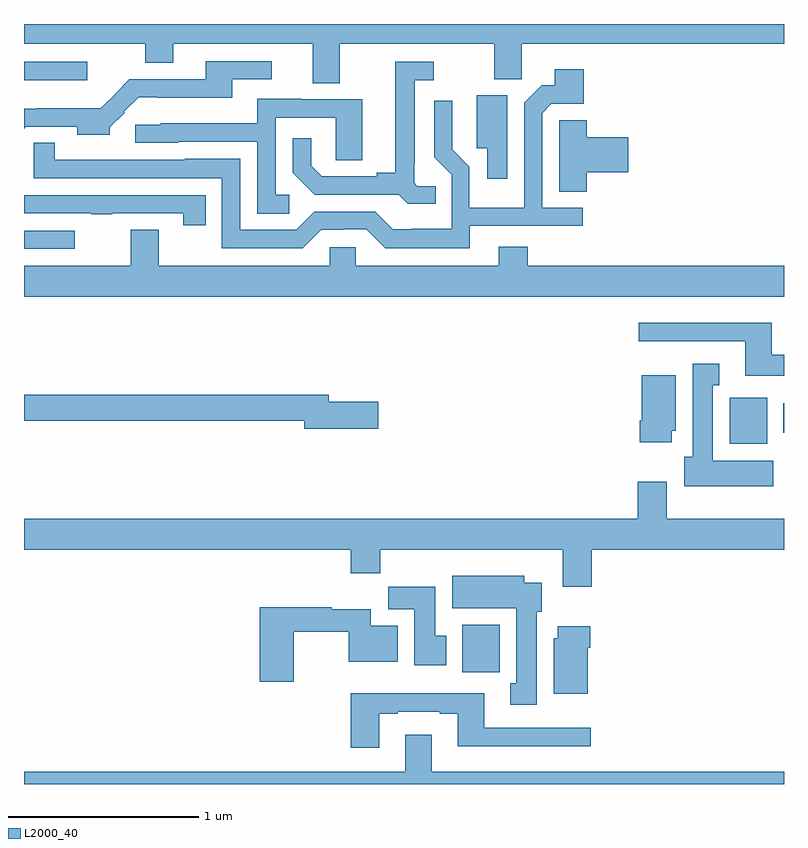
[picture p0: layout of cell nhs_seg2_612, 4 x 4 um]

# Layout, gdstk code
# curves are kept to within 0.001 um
import gdstk
lib = gdstk.Library(unit=1e-6, precision=1e-09)
def R(c, l, rs):  # rectangles x0, y0, x1, y1
    for r in rs: c.add(gdstk.rectangle(r[:2], r[2:], *l))
def P(c, l, *ps):  # polygons
    for p in ps: c.add(gdstk.Polygon(p, *l))
L2000_40 = (2000, 40)

nhs_seg2_612 = lib.new_cell('nhs_seg2_612')
R(nhs_seg2_612, L2000_40, [(145.307,584.388,145.503,584.638), (146.714,585.59,146.911,585.832), (146.996,585.649,147,585.805), (143,586.617,143.266,586.713), (143,587.504,143.332,587.601)])
P(nhs_seg2_612, L2000_40, [(144.661,587.696),(145.474,587.696),(145.474,587.509),(145.62,587.509),(145.62,587.696),(147,587.696),(147,587.8),(143,587.8),(143,587.696),(143.638,587.696),(143.638,587.597),(143.785,587.597),(143.785,587.696),(144.521,587.696),(144.521,587.488),(144.661,587.488)],
  [(143.45,587.256),(143.529,587.334),(143.526,587.337),(143.603,587.414),(143.704,587.414),(143.704,587.411),(144.097,587.411),(144.097,587.508),(144.304,587.508),(144.304,587.604),(143.957,587.604),(143.957,587.508),(143.553,587.508),(143.477,587.431),(143.479,587.429),(143.405,587.356),(143.071,587.356),(143.071,587.354),(143,587.354),(143,587.249),(143.01,587.259),(143.279,587.259),(143.279,587.216),(143.45,587.216)],
  [(145.166,586.947),(145.071,586.947),(145.053,586.965),(145.053,587.065),(145.057,587.065),(145.057,587.505),(145.156,587.505),(145.156,587.601),(144.953,587.601),(144.953,587.018),(144.857,587.018),(144.857,586.998),(144.568,586.998),(144.511,587.055),(144.511,587.2),(144.414,587.2),(144.414,587.018),(144.53,586.902),(144.972,586.902),(145.02,586.855),(145.166,586.855)],
  [(145.345,586.737),(145.942,586.737),(145.942,586.833),(145.728,586.833),(145.728,587.331),(145.776,587.379),(145.946,587.379),(145.946,587.563),(145.793,587.563),(145.793,587.478),(145.725,587.478),(145.632,587.385),(145.632,586.834),(145.344,586.834),(145.344,587.05),(145.253,587.142),(145.254,587.395),(145.158,587.395),(145.158,587.1),(145.251,587.007),(145.251,586.723),(145.042,586.723),(145.042,586.719),(144.942,586.719),(144.849,586.812),(144.528,586.812),(144.432,586.716),(144.138,586.716),(144.138,587.092),(143.847,587.092),(143.847,587.085),(143.161,587.086),(143.161,587.174),(143.052,587.174),(143.052,586.989),(144.042,586.989),(144.042,586.62),(144.468,586.62),(144.564,586.716),(144.684,586.716),(144.684,586.719),(144.801,586.719),(144.901,586.619),(145.345,586.619)],
  [(145.543,587.424),(145.382,587.424),(145.382,587.145),(145.439,587.145),(145.439,586.986),(145.543,586.986)],
  [(144.397,586.902),(144.324,586.902),(144.324,587.307),(144.642,587.307),(144.642,587.083),(144.781,587.083),(144.781,587.403),(144.463,587.403),(144.463,587.407),(144.227,587.407),(144.227,587.278),(143.721,587.278),(143.721,587.271),(143.586,587.271),(143.586,587.175),(143.811,587.175),(143.811,587.181),(144.228,587.181),(144.228,586.801),(144.397,586.801)],
  [(145.961,587.021),(146.179,587.021),(146.179,587.204),(145.961,587.204),(145.961,587.294),(145.818,587.294),(145.818,587.186),(145.817,587.186),(145.817,586.918),(145.961,586.918)],
  [(143.957,586.899),(143,586.899),(143,586.803),(143.353,586.803),(143.353,586.798),(143.465,586.798),(143.465,586.803),(143.839,586.803),(143.839,586.74),(143.957,586.74)],
  [(147,586.528),(145.652,586.528),(145.652,586.627),(145.499,586.627),(145.499,586.528),(144.747,586.528),(144.747,586.626),(144.609,586.626),(144.609,586.528),(143.709,586.528),(143.709,586.718),(143.561,586.718),(143.561,586.528),(143,586.528),(143,586.364),(147,586.364)],
  [(147,586.06),(146.935,586.06),(146.935,586.228),(146.235,586.228),(146.235,586.131),(146.795,586.131),(146.795,585.95),(147,585.95)],
  [(146.944,585.502),(146.626,585.502),(146.626,585.899),(146.659,585.899),(146.659,586.012),(146.519,586.012),(146.519,585.522),(146.474,585.522),(146.474,585.368),(146.944,585.368)],
  [(146.41,585.66),(146.431,585.66),(146.431,585.952),(146.252,585.952),(146.252,585.712),(146.24,585.712),(146.24,585.6),(146.41,585.6)],
  [(144.865,585.812),(144.604,585.812),(144.604,585.848),(143,585.848),(143,585.712),(144.476,585.712),(144.476,585.67),(144.865,585.67)],
  [(145.988,585.032),(147,585.032),(147,585.196),(146.383,585.196),(146.383,585.391),(146.231,585.391),(146.231,585.196),(143,585.196),(143,585.032),(144.719,585.032),(144.719,584.908),(144.875,584.908),(144.875,585.032),(145.835,585.032),(145.835,584.838),(145.988,584.838)],
  [(145.699,584.706),(145.726,584.706),(145.726,584.86),(145.633,584.86),(145.633,584.896),(145.253,584.896),(145.253,584.726),(145.592,584.726),(145.592,584.329),(145.559,584.329),(145.559,584.217),(145.699,584.217)],
  [(145.222,584.58),(145.165,584.58),(145.165,584.838),(144.916,584.838),(144.916,584.72),(145.055,584.72),(145.055,584.424),(145.222,584.424)],
  [(144.42,584.602),(144.709,584.602),(144.709,584.444),(144.967,584.444),(144.967,584.632),(144.826,584.632),(144.826,584.72),(144.62,584.72),(144.62,584.731),(144.242,584.731),(144.242,584.337),(144.42,584.337)],
  [(145.966,584.516),(145.979,584.516),(145.979,584.629),(145.808,584.629),(145.808,584.568),(145.787,584.568),(145.787,584.276),(145.966,584.276)],
  [(144.871,584.169),(144.967,584.169),(144.967,584.181),(145.187,584.181),(145.187,584.169),(145.283,584.169),(145.283,584),(145.984,584),(145.984,584.097),(145.423,584.097),(145.423,584.278),(144.719,584.278),(144.719,583.992),(144.871,583.992)],
  [(147,583.864),(145.147,583.864),(145.147,584.059),(145.007,584.059),(145.007,583.864),(143,583.864),(143,583.8),(147,583.8)])

lib.write_gds('nhs_seg2_612.gds')
